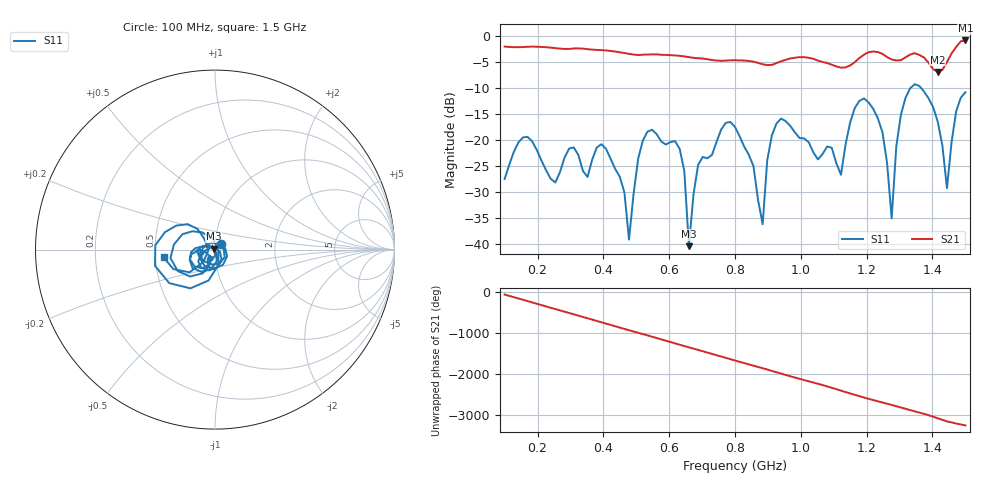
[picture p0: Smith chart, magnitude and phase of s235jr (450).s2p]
! NanoVNA-App
! Date: 2025-09-25 15:07:40
! Start: 100MHz Stop: 1,5GHz Points: 101
! S-Parameter data: F S11 S21 S12 S22
# Hz S RI R 50
!  Frequency  S11_Real  S11_Imag  S21_Real  S21_Imag  S12_Real  S12_Imag  S22_Real  S22_Imag
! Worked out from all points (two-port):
!   101 points, 100 MHz to 1.5 GHz, reference 50 ohm
!   highest |S21| = -0.79 dB at 1.5 GHz (marker M1); lowest = -6.9 dB at 1.416 GHz (marker M2)
!   |S21| within 3 dB of the highest: start of sweep to 637.3 MHz; 1.186 GHz to 1.257 GHz (71.13 MHz wide, 5.82 % of centre) (the widest 2 of 4)
!   lowest |S11| = -40.4 dB at 660 MHz (marker M3), VSWR 1.02, Z = 49.2 + j0.54 ohm
!   |S11| at or under -10 dB: start of sweep to 1.332 GHz; 1.366 GHz to end of sweep
!   S12 and S22 are empty: the file has one direction only
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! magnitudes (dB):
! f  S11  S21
! 100 MHz  -27.5  -2.0
! 156 MHz  -19.5  -2.1
! 338 MHz  -25.9  -2.3
! 408 MHz  -21.6  -2.7
! 478 MHz  -39.1  -3.4
! 520 MHz  -20.1  -3.5
! 576 MHz  -20.2  -3.5
! 632 MHz  -21.7  -3.7
! 660 MHz  -40.4  -4.0
! 688 MHz  -24.8  -4.2
! 800 MHz  -17.4  -4.6
! 884 MHz  -36.2  -5.4
! 926 MHz  -16.8  -5.1
! 1.038 GHz  -22.3  -4.3
! 1.122 GHz  -26.7  -6.0
! 1.192 GHz  -11.9  -3.5
! 1.248 GHz  -18.5  -3.4
! 1.276 GHz  -35.1  -4.5
! 1.318 GHz  -11.8  -4.0
! 1.416 GHz  -16.4  -6.9
! 1.444 GHz  -29.2  -5.0
! 1.5 GHz  -10.8  -0.8
